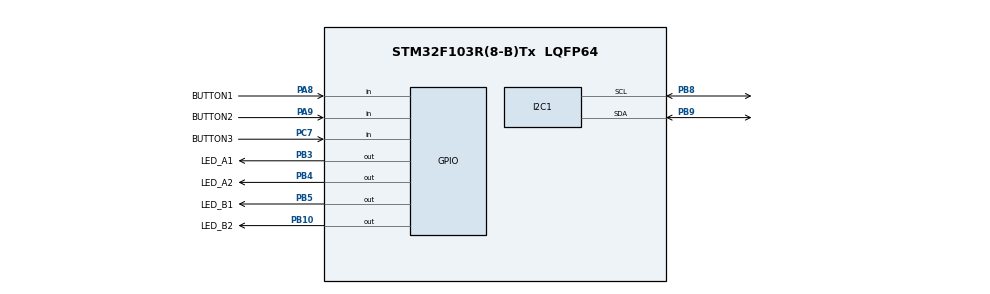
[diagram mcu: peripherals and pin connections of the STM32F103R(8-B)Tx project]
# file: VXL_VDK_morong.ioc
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Mcu.Family=STM32F1
Mcu.Name=STM32F103R(8-B)Tx
Mcu.Package=LQFP64
NVIC.PriorityGroup=NVIC_PRIORITYGROUP_4
NVIC.TIM2_IRQn=true\:0\:0\:false\:false\:true\:true\:true\:true
PA13.Mode=Serial_Wire
PA13.Signal=SYS_JTMS-SWDIO
PA14.Mode=Serial_Wire
PA14.Signal=SYS_JTCK-SWCLK
PA8.GPIO_Label=BUTTON1
PA8.Signal=GPIO_Input
PA9.GPIO_Label=BUTTON2
PA9.Signal=GPIO_Input
PB10.GPIO_Label=LED_B2
PB10.Signal=GPIO_Output
PB3.GPIO_Label=LED_A1
PB3.Signal=GPIO_Output
PB4.GPIO_Label=LED_A2
PB4.Signal=GPIO_Output
PB5.GPIO_Label=LED_B1
PB5.Signal=GPIO_Output
PB8.Mode=I2C
PB8.Signal=I2C1_SCL
PB9.Mode=I2C
PB9.Signal=I2C1_SDA
PC7.GPIO_Label=BUTTON3
PC7.Signal=GPIO_Input
ProjectManager.HeapSize=0x200
ProjectManager.StackSize=0x400
ProjectManager.TargetToolchain=STM32CubeIDE
RCC.APB1Freq_Value=8000000
RCC.APB2Freq_Value=8000000
TIM2.Period=9
TIM2.Prescaler=7999
VP_TIM2_VS_ClockSourceINT.Mode=Internal
board=custom

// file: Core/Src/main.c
/* USER CODE BEGIN Header */
/**
  ******************************************************************************
  * @file           : main.c
  * @brief          : Main program body
  ******************************************************************************
  * @attention
  *
  * <h2><center>&copy; Copyright (c) 2025 STMicroelectronics.
  * All rights reserved.</center></h2>
  *
  * This software component is licensed by ST under BSD 3-Clause license,
  * the "License"; You may not use this file except in compliance with the
  * License. You may obtain a copy of the License at:
  *                        opensource.org/licenses/BSD-3-Clause
  *
  ******************************************************************************
  */
/* USER CODE END Header */
#include "main.h"

/* USER CODE BEGIN Includes */
#include "scheduler.h"
#include "fsm_manual.h"
#include "fsm_automatic.h"
#include "fsm_config.h"
#include "fsm_system.h"
#include "input_processing.h"
#include "input_reading.h"
#include "software_timer.h"
#include "i2c-lcd.h"

/* USER CODE END Includes */

I2C_HandleTypeDef hi2c1;

TIM_HandleTypeDef htim2;

void SystemClock_Config(void);
static void MX_GPIO_Init(void);
static void MX_TIM2_Init(void);
static void MX_I2C1_Init(void);

int main(void)
{
  /* USER CODE BEGIN 1 */
	  SCH_Init();
  /* USER CODE END 1 */

  /* MCU Configuration--------------------------------------------------------*/

  /* Reset of all peripherals, Initializes the Flash interface and the Systick. */
  HAL_Init();

  /* Configure the system clock */
  SystemClock_Config();

  /* Initialize all configured peripherals */
  MX_GPIO_Init();
  MX_TIM2_Init();
  MX_I2C1_Init();
  /* USER CODE BEGIN 2 */
  HAL_TIM_Base_Start_IT(&htim2);

  lcd_init();

  SCH_Add_Task(button_reading, 10, 10);
  SCH_Add_Task(button_processing, 10, 10);
  SCH_Add_Task(fsm_system, 10, 10);
  SCH_Add_Task(fsm_config, 10, 10);
  SCH_Add_Task(fsm_automatic, 10, 10);
  SCH_Add_Task(fsm_manual, 10, 10);
  /* USER CODE END 2 */

  /* Infinite loop */
  /* USER CODE BEGIN WHILE */
  while (1)
  {
	  SCH_Dispatch_Tasks();
    /* USER CODE END WHILE */

  }
}

void SystemClock_Config(void)
{
  RCC_OscInitTypeDef RCC_OscInitStruct = {0};
  RCC_ClkInitTypeDef RCC_ClkInitStruct = {0};

  /** Initializes the RCC Oscillators according to the specified parameters
  * in the RCC_OscInitTypeDef structure.
  */
  RCC_OscInitStruct.OscillatorType = RCC_OSCILLATORTYPE_HSI;
  RCC_OscInitStruct.HSIState = RCC_HSI_ON;
  RCC_OscInitStruct.HSICalibrationValue = RCC_HSICALIBRATION_DEFAULT;
  RCC_OscInitStruct.PLL.PLLState = RCC_PLL_NONE;
  if (HAL_RCC_OscConfig(&RCC_OscInitStruct) != HAL_OK)
  {
    Error_Handler();
  }
  /** Initializes the CPU, AHB and APB buses clocks
  */
  RCC_ClkInitStruct.ClockType = RCC_CLOCKTYPE_HCLK|RCC_CLOCKTYPE_SYSCLK
                              |RCC_CLOCKTYPE_PCLK1|RCC_CLOCKTYPE_PCLK2;
  RCC_ClkInitStruct.SYSCLKSource = RCC_SYSCLKSOURCE_HSI;
  RCC_ClkInitStruct.AHBCLKDivider = RCC_SYSCLK_DIV1;
  RCC_ClkInitStruct.APB1CLKDivider = RCC_HCLK_DIV1;
  RCC_ClkInitStruct.APB2CLKDivider = RCC_HCLK_DIV1;

  if (HAL_RCC_ClockConfig(&RCC_ClkInitStruct, FLASH_LATENCY_0) != HAL_OK)
  {
    Error_Handler();
  }
}

static void MX_I2C1_Init(void)
{

  hi2c1.Instance = I2C1;
  hi2c1.Init.ClockSpeed = 100000;
  hi2c1.Init.DutyCycle = I2C_DUTYCYCLE_2;
  hi2c1.Init.OwnAddress1 = 0;
  hi2c1.Init.AddressingMode = I2C_ADDRESSINGMODE_7BIT;
  hi2c1.Init.DualAddressMode = I2C_DUALADDRESS_DISABLE;
  hi2c1.Init.OwnAddress2 = 0;
  hi2c1.Init.GeneralCallMode = I2C_GENERALCALL_DISABLE;
  hi2c1.Init.NoStretchMode = I2C_NOSTRETCH_DISABLE;
  if (HAL_I2C_Init(&hi2c1) != HAL_OK)
  {
    Error_Handler();
  }

}

static void MX_TIM2_Init(void)
{

  TIM_ClockConfigTypeDef sClockSourceConfig = {0};
  TIM_MasterConfigTypeDef sMasterConfig = {0};

  htim2.Instance = TIM2;
  htim2.Init.Prescaler = 7999;
  htim2.Init.CounterMode = TIM_COUNTERMODE_UP;
  htim2.Init.Period = 9;
  htim2.Init.ClockDivision = TIM_CLOCKDIVISION_DIV1;
  htim2.Init.AutoReloadPreload = TIM_AUTORELOAD_PRELOAD_DISABLE;
  if (HAL_TIM_Base_Init(&htim2) != HAL_OK)
  {
    Error_Handler();
  }
  sClockSourceConfig.ClockSource = TIM_CLOCKSOURCE_INTERNAL;
  if (HAL_TIM_ConfigClockSource(&htim2, &sClockSourceConfig) != HAL_OK)
  {
    Error_Handler();
  }
  sMasterConfig.MasterOutputTrigger = TIM_TRGO_RESET;
  sMasterConfig.MasterSlaveMode = TIM_MASTERSLAVEMODE_DISABLE;
  if (HAL_TIMEx_MasterConfigSynchronization(&htim2, &sMasterConfig) != HAL_OK)
  {
    Error_Handler();
  }

}

static void MX_GPIO_Init(void)
{
  GPIO_InitTypeDef GPIO_InitStruct = {0};

  /* GPIO Ports Clock Enable */
  __HAL_RCC_GPIOB_CLK_ENABLE();
  __HAL_RCC_GPIOC_CLK_ENABLE();
  __HAL_RCC_GPIOA_CLK_ENABLE();

  /*Configure GPIO pin Output Level */
  HAL_GPIO_WritePin(GPIOB, LED_B2_Pin|LED_A1_Pin|LED_A2_Pin|LED_B1_Pin, GPIO_PIN_RESET);

  /*Configure GPIO pins : LED_B2_Pin LED_A1_Pin LED_A2_Pin LED_B1_Pin */
  GPIO_InitStruct.Pin = LED_B2_Pin|LED_A1_Pin|LED_A2_Pin|LED_B1_Pin;
  GPIO_InitStruct.Mode = GPIO_MODE_OUTPUT_PP;
  GPIO_InitStruct.Pull = GPIO_NOPULL;
  GPIO_InitStruct.Speed = GPIO_SPEED_FREQ_LOW;
  HAL_GPIO_Init(GPIOB, &GPIO_InitStruct);

  /*Configure GPIO pin : BUTTON3_Pin */
  GPIO_InitStruct.Pin = BUTTON3_Pin;
  GPIO_InitStruct.Mode = GPIO_MODE_INPUT;
  GPIO_InitStruct.Pull = GPIO_NOPULL;
  HAL_GPIO_Init(BUTTON3_GPIO_Port, &GPIO_InitStruct);

  /*Configure GPIO pins : BUTTON1_Pin BUTTON2_Pin */
  GPIO_InitStruct.Pin = BUTTON1_Pin|BUTTON2_Pin;
  GPIO_InitStruct.Mode = GPIO_MODE_INPUT;
  GPIO_InitStruct.Pull = GPIO_NOPULL;
  HAL_GPIO_Init(GPIOA, &GPIO_InitStruct);

}

/* USER CODE BEGIN 4 */
void HAL_TIM_PeriodElapsedCallback(TIM_HandleTypeDef *htim){
	SCH_Update();
	timer_run();
}

/* USER CODE END 4 */

void Error_Handler(void)
{
  __disable_irq();
  while (1)
  {
  }
}

/************************ (C) COPYRIGHT STMicroelectronics *****END OF FILE****/
